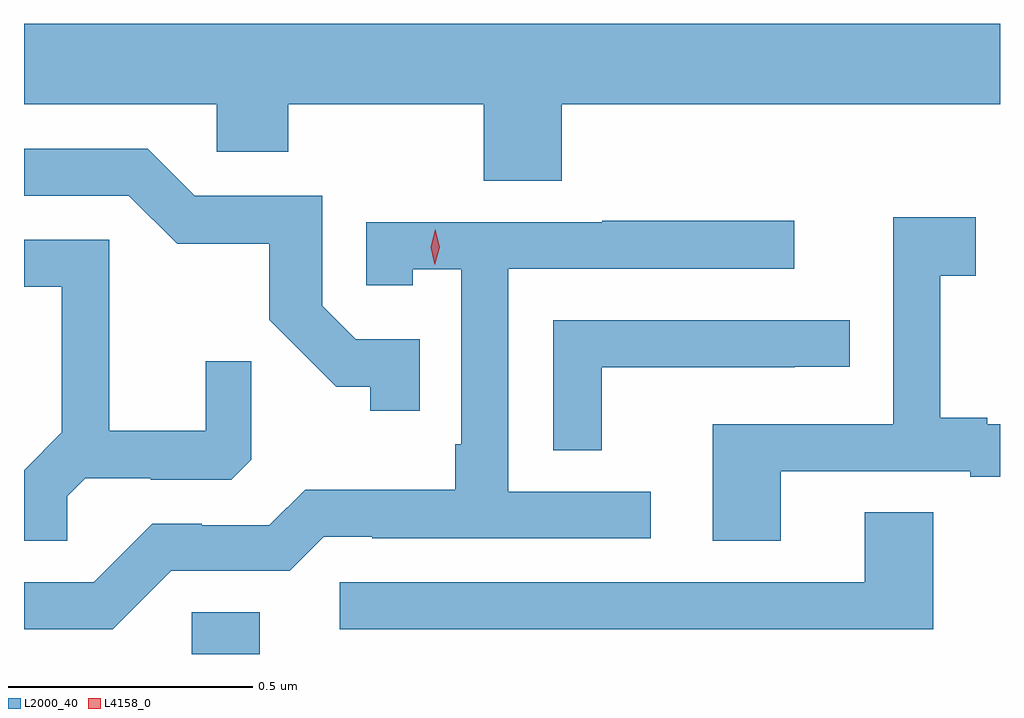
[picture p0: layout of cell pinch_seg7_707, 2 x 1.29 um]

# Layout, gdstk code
import gdstk
lib = gdstk.Library(unit=1e-6, precision=1e-09)
def R(c, l, rs):  # rectangles x0, y0, x1, y1
    for r in rs: c.add(gdstk.rectangle(r[:2], r[2:], *l))
def P(c, l, *ps):  # polygons
    for p in ps: c.add(gdstk.Polygon(p, *l))
L2000_40 = (2000, 40)
L4158_0 = (4158, 0)

pinch_seg7_707 = lib.new_cell('pinch_seg7_707')
R(pinch_seg7_707, L2000_40, [(214.572,1012.809,214.711,1012.895)])
P(pinch_seg7_707, L2000_40, [(215.33,1013.936),(216.228,1013.936),(216.228,1014.1),(214.228,1014.1),(214.228,1013.936),(214.623,1013.936),(214.623,1013.838),(214.77,1013.838),(214.77,1013.936),(215.17,1013.936),(215.17,1013.779),(215.33,1013.779)],
  [(215.039,1013.454),(214.908,1013.454),(214.839,1013.523),(214.839,1013.748),(214.578,1013.748),(214.482,1013.844),(214.228,1013.844),(214.228,1013.748),(214.443,1013.748),(214.542,1013.65),(214.731,1013.65),(214.731,1013.494),(214.868,1013.357),(214.938,1013.357),(214.938,1013.307),(215.039,1013.307)],
  [(215.779,1013.184),(216.167,1013.184),(216.167,1013.172),(216.228,1013.172),(216.228,1013.28),(216.202,1013.28),(216.202,1013.293),(216.106,1013.293),(216.106,1013.584),(216.178,1013.584),(216.178,1013.704),(216.009,1013.704),(216.009,1013.28),(215.639,1013.28),(215.639,1013.041),(215.779,1013.041)],
  [(214.53,1012.98),(214.773,1012.98),(214.842,1013.049),(214.942,1013.049),(214.942,1013.046),(215.512,1013.046),(215.512,1013.142),(215.22,1013.142),(215.22,1013.598),(215.806,1013.598),(215.806,1013.697),(215.413,1013.697),(215.413,1013.694),(214.929,1013.694),(214.929,1013.565),(215.025,1013.565),(215.025,1013.597),(215.124,1013.597),(215.124,1013.239),(215.112,1013.239),(215.112,1013.146),(214.804,1013.146),(214.731,1013.073),(214.592,1013.073),(214.592,1013.076),(214.491,1013.076),(214.371,1012.956),(214.228,1012.956),(214.228,1012.86),(214.41,1012.86)],
  [(214.317,1013.132),(214.354,1013.169),(214.488,1013.169),(214.488,1013.166),(214.653,1013.166),(214.694,1013.207),(214.694,1013.409),(214.6,1013.409),(214.6,1013.266),(214.403,1013.266),(214.403,1013.658),(214.228,1013.658),(214.228,1013.562),(214.305,1013.562),(214.305,1013.263),(214.228,1013.186),(214.228,1013.041),(214.317,1013.041)],
  [(215.412,1013.397),(215.807,1013.397),(215.807,1013.398),(215.92,1013.398),(215.92,1013.493),(215.313,1013.493),(215.313,1013.227),(215.412,1013.227)],
  [(216.091,1013.099),(215.951,1013.099),(215.951,1012.956),(214.875,1012.956),(214.875,1012.86),(216.091,1012.86)])
P(pinch_seg7_707, L4158_0, [(215.07,1013.607),(215.07,1013.607),(215.061,1013.643),(215.071,1013.679),(215.071,1013.679),(215.071,1013.679),(215.08,1013.643),(215.07,1013.607)])

lib.write_gds('pinch_seg7_707.gds')
